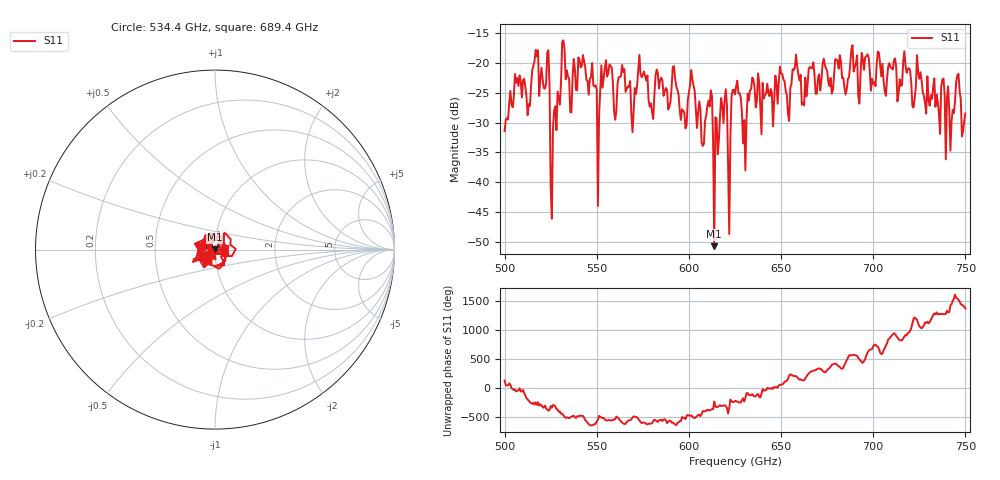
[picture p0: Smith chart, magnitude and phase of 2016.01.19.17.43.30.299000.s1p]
!Created with skrf (http://scikit-rf.org).
# GHz S RI R 50.0
!freq ReS11 ImS11
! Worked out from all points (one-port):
!   401 points, 500 GHz to 750 GHz, reference 50 ohm
!   lowest |S11| = -50.7 dB at 613.8 GHz (marker M1), VSWR 1.01, Z = 49.8 + j0.237 ohm
!   |S11| at or under -10 dB: start of sweep to end of sweep
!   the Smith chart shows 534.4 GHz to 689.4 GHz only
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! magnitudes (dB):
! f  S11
! 500 GHz  -31.4
! 506.9 GHz  -22.5
! 513.1 GHz  -26.9
! 516.9 GHz  -17.8
! 523.1 GHz  -18.3
! 526.2 GHz  -30.9
! 531.2 GHz  -16.5
! 542.5 GHz  -18.7
! 550.6 GHz  -43.9
! 553.8 GHz  -22.6
! 562.5 GHz  -22.4
! 570 GHz  -28.2
! 573.8 GHz  -21.8
! 593.8 GHz  -24.5
! 597.5 GHz  -28.3
! 601.9 GHz  -22.8
! 608.1 GHz  -33.5
! 611.2 GHz  -27.3
! 613.8 GHz  -50.7
! 618.8 GHz  -30.1
! 622.5 GHz  -32.4
! 625 GHz  -25.3
! 630 GHz  -29.6
! 634.4 GHz  -22.5
! 656.2 GHz  -21.1
! 687.5 GHz  -20.3
! 718.8 GHz  -21.0
! 750 GHz  -28.5
